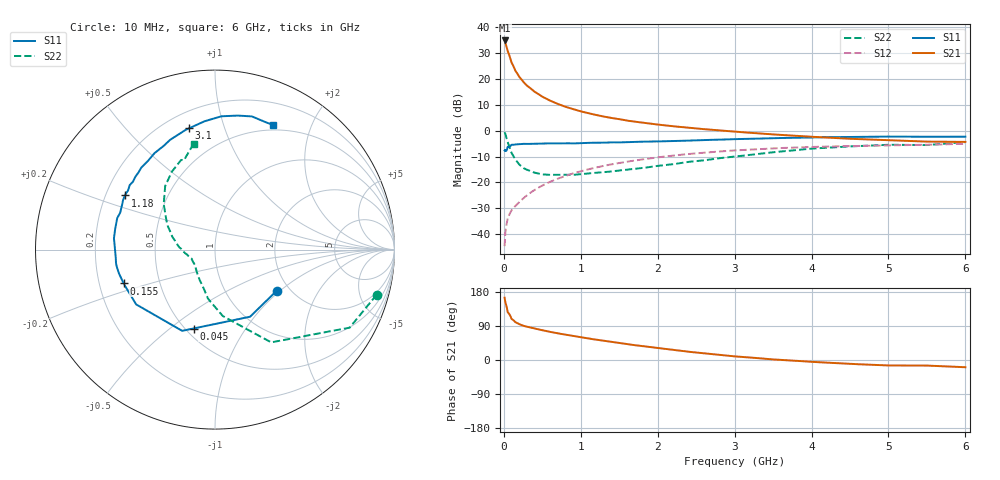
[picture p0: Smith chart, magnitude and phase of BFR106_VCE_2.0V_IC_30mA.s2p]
! Infineon Technologies  Discrete & RF Semiconductors
! BFR106
! VCE =  2.0 V,  IC =  30 mA
! Common Emitter S-Parameters:  Nov 2015
# GHz  S  MA  R  50
!  f  S11  S21  S12  S22
! GHz  MAG  ANG  MAG  ANG  MAG  ANG  MAG  ANG
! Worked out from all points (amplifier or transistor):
!   210 points, 10 MHz to 6 GHz, reference 50 ohm
!   highest |S21| = 35.0 dB at 10 MHz (marker M1)
!   |S21| within 3 dB of that: start of sweep to 39.53 MHz
!   unconditionally stable (mu >= 1): 289.5 MHz to 2.57 GHz; 5.102 GHz to end of sweep
!   at 185 MHz: K = 0.87, MSG = 24.9 dB, |S12| = -28.1 dB
!   at 1.52 GHz: K = 1.06, MAG = 6.9 dB, |S12| = -12.4 dB
!   at 6 GHz: K = 1.01, MAG = -0.3 dB, |S12| = -5.0 dB
!   S11 on the Smith chart (normalised r, x): 10 MHz: 1.71, -0.95; 45 MHz: 0.55, -0.61; 155 MHz: 0.31, -0.16; 1.18 GHz: 0.28, +0.26; 3.1 GHz: 0.30, +0.77; 6 GHz: 0.44, +1.48
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0.01  0.413 -33.9  56.01 164.5  0.0058 81.0  0.9349 -15.6
0.02  0.4219 -62.4  50.95 151.9  0.011 68.2  0.8671 -30.1
0.045  0.4556 -105.2  37.09 132.1  0.0185 57.4  0.634 -52.5
0.05  0.4882 -112.0  35.09 126.5  0.02 56.2  0.6041 -58.8
0.1  0.535 -145.2  20.98 108.5  0.0287 54.0  0.3729 -83.3
0.15  0.5421 -159.0  14.54 99.7  0.0349 57.1  0.2761 -98.1
0.155  0.5427 -159.7  14.19 99.3  0.0355 57.5  0.2705 -98.8
0.2  0.5516 -166.2  11.12 94.6  0.0412 60.5  0.2223 -106.9
0.26  0.5566 -172.3  8.626 90.0  0.05 63.0  0.1877 -117.4
0.3  0.5547 -175.3  7.483 87.7  0.056 64.7  0.1755 -122.4
0.4  0.5584 178.4  5.679 82.9  0.0712 66.5  0.1539 -133.1
0.5  0.5664 173.7  4.561 78.4  0.0864 67.3  0.1425 -140.5
0.6  0.5679 169.3  3.827 74.3  0.1022 67.3  0.1397 -145.5
0.8  0.5725 162.2  2.912 66.9  0.1331 65.8  0.1401 -155.1
1.02  0.5751 154.1  2.332 59.6  0.1667 63.5  0.1446 -161.5
1.18  0.5855 149.0  2.049 54.3  0.1907 61.4  0.1522 -166.3
1.6  0.6015 137.5  1.571 42.1  0.251 55.3  0.1759 -176.7
2.02  0.6209 126.5  1.306 31.1  0.3067 48.6  0.2099 173.0
3.1  0.6912 102.0  0.935 8.1  0.4226 31.0  0.3273 146.7
4.1  0.7456 85.8  0.75 -5.8  0.4894 16.0  0.4582 126.1
5.1  0.7682 73.4  0.646 -14.5  0.5227 3.9  0.5327 110.4
6  0.7659 65.0  0.607 -19.1  0.5593 -5.3  0.6023 101.4
